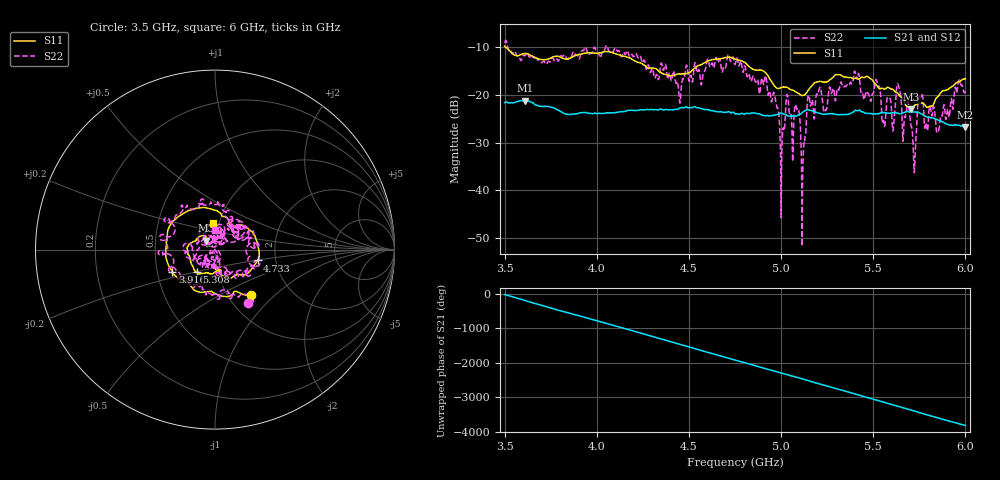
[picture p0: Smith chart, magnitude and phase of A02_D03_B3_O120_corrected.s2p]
! Created with skrf 1.9.0 (http://scikit-rf.org).
# Hz S RI R 50.0
!freq ReS11 ImS11 ReS21 ImS21 ReS12 ImS12 ReS22 ImS22
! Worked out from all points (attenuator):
!   1601 points, 3.5 GHz to 6 GHz, reference 50 ohm
!   highest |S21| = -21.19 dB at 3.609 GHz (marker M1); lowest = -26.7 dB at 6 GHz (marker M2)
!   lowest |S11| = -23.0 dB at 5.706 GHz (marker M3), VSWR 1.15, Z = 45.1 + j4.56 ohm
!   |S11| at or under -10 dB: 3.506 GHz to end of sweep
!   |S22| runs from -51.7 to -8.6 dB; largest |S21 - S12| = 0.00097
!   S11 on the Smith chart (normalised r, x): 3.5 GHz: 1.27, -0.72; 3.916 GHz: 0.60, -0.16; 4.733 GHz: 1.61, -0.21; 5.308 GHz: 0.79, -0.21; 6 GHz: 0.94, +0.28
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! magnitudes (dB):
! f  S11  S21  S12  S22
! 3.5 GHz  -9.8  -21.6  -21.6  -9.1
! 3.609 GHz  -11.3  -21.2  -21.2  -11.8
! 3.916 GHz  -11.5  -23.7  -23.7  -11.0
! 3.917 GHz  -11.4  -23.7  -23.7  -10.8
! 4.334 GHz  -15.0  -23.2  -23.1  -16.8
! 4.733 GHz  -12.2  -23.7  -23.7  -12.6
! 4.75 GHz  -12.5  -24.0  -23.9  -13.6
! 4.966 GHz  -18.2  -24.2  -24.2  -20.1
! 5.005 GHz  -18.4  -23.8  -23.8  -31.2
! 5.033 GHz  -18.4  -24.4  -24.3  -19.9
! 5.088 GHz  -19.6  -24.3  -24.3  -22.9
! 5.119 GHz  -20.1  -23.6  -23.5  -34.2
! 5.145 GHz  -19.2  -23.1  -23.1  -20.5
! 5.167 GHz  -18.1  -23.3  -23.3  -21.1
! 5.308 GHz  -15.8  -24.1  -24.1  -18.7
! 5.584 GHz  -18.5  -23.8  -23.8  -20.5
! 5.638 GHz  -19.9  -23.9  -23.9  -18.1
! 5.706 GHz  -23.0  -23.6  -23.5  -26.7
! 5.725 GHz  -22.1  -23.6  -23.5  -34.7
! 5.756 GHz  -21.6  -23.9  -23.8  -20.6
! 5.85 GHz  -20.4  -25.2  -25.2  -27.3
! 6 GHz  -16.6  -26.7  -26.7  -19.2
